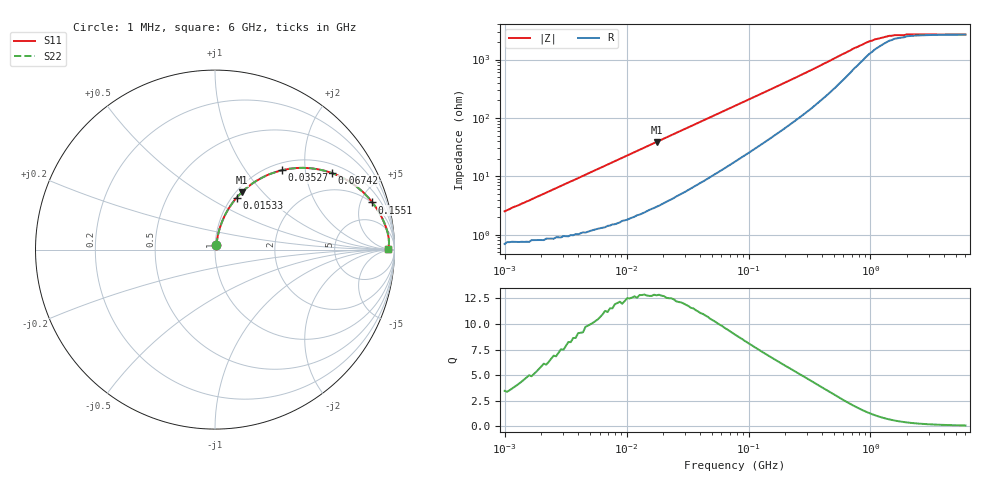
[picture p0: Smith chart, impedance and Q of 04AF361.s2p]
# MHz S MA R 50
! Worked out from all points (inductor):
!   189 points, 1 MHz to 6 GHz, reference 50 ohm
!   read as one part in series: L = 383 nH near 1 MHz
!   highest Q = 12.9 at 17.62 MHz (marker M1), where L = 349 nH
!   S11 on the Smith chart (normalised r, x): 1 MHz: 1.01, +0.05; 15.34 MHz: 1.05, +0.68; 35.27 MHz: 1.13, +1.50; 67.42 MHz: 1.30, +2.80; 155.1 MHz: 1.93, +6.23; 6 GHz: 54, +5
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1  0.025 72.1  0.993 -1.4  0.993 -1.4  0.025 72.1
2.3  0.054 78.0  0.99 -3.1  0.99 -3.1  0.054 78.0
4.396  0.1 78.2  0.984 -5.7  0.984 -5.7  0.1 78.2
8.801  0.192 74.2  0.966 -11.0  0.966 -11.0  0.192 74.2
15.335  0.314 67.3  0.925 -18.2  0.925 -18.2  0.314 67.3
17.619  0.352 65.0  0.909 -20.6  0.909 -20.6  0.352 65.0
18.454  0.366 64.1  0.903 -21.4  0.903 -21.4  0.366 64.1
25.513  0.468 57.5  0.846 -27.8  0.846 -27.8  0.468 57.5
35.272  0.579 49.8  0.767 -35.2  0.767 -35.2  0.579 49.8
46.56  0.672 42.7  0.681 -42.0  0.681 -42.0  0.672 42.7
67.42  0.778 33.3  0.552 -50.7  0.552 -50.7  0.778 33.3
77.46  0.81 30.0  0.503 -53.6  0.503 -53.6  0.81 30.0
107.091  0.87 23.1  0.395 -59.7  0.395 -59.7  0.87 23.1
155.069  0.915 16.7  0.29 -64.8  0.29 -64.8  0.915 16.7
214.388  0.94 12.3  0.217 -67.7  0.217 -67.7  0.94 12.3
340.538  0.959 7.8  0.139 -69.2  0.139 -69.2  0.959 7.8
540.917  0.968 4.7  0.086 -66.2  0.086 -66.2  0.968 4.7
899.897  0.97 2.4  0.051 -53.6  0.051 -53.6  0.97 2.4
1082.877  0.97 1.9  0.044 -45.9  0.044 -45.9  0.97 1.9
1429.415  0.968 1.2  0.038 -33.1  0.038 -33.1  0.968 1.2
1976.214  0.966 0.8  0.036 -20.7  0.036 -20.7  0.966 0.8
6000  0.964 0.2  0.036 -5.2  0.036 -5.2  0.964 0.2
